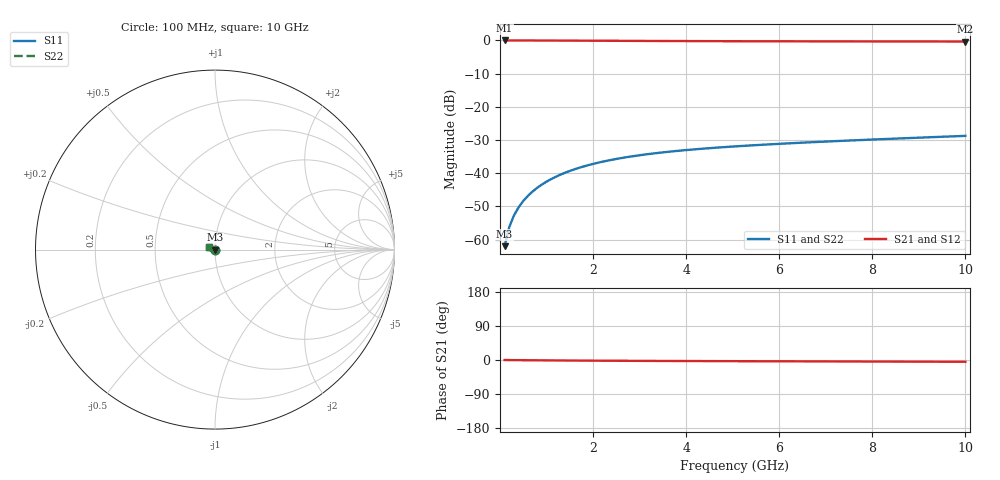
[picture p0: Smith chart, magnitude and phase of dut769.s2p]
! Touchstone file exported from HFSS 2024.1.0
!  File:  C:/UserFiles/LocalFiles/RDL_TSV_Batchsim/temp_TSV1_769_1779873296.aedt
!  Generated:  05:20:02 PM May 27, 2026
!  Design:  TSV1
!  Project:  temp_TSV1_769_1779873296
!  Setup:  Setup1
!  Solution:  Sweep
! Variables:
!  dtsv = 7.75um
!  hbump = 3um
!  htsv = 69.49um
!  lrdl = 252.1521522um
!  p = 40
!  p1 = 52.84um
!  t = 500um
!  trdl = 3um
!  wrdl = 24.89489489um
# GHz S MA R 50.000000
! Terminal data exported
! Port[1] = TSV22_T1
! Port[2] = TSV22_T2
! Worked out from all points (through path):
!   100 points, 100 MHz to 10 GHz, reference 50 ohm
!   highest |S21| = 0.00 dB at 100 MHz (marker M1); lowest = -0.3 dB at 10 GHz (marker M2)
!   lowest |S11| = -62.0 dB at 100 MHz (marker M3), VSWR 1.00, Z = 50 - j0.0775 ohm
!   |S11| at or under -10 dB: start of sweep to end of sweep
!   |S22| runs from -62.0 to -28.7 dB; largest |S21 - S12| = 4.2e-15
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0.1  0.0007984 -76.1  0.9997 -0.1  0.9997 -0.1  0.0007984 -76.1
! Gamma 0 0 0 0
! Port Impedance 50 0 50 0
0.2  0.001549 -86.1  0.9997 -0.2  0.9997 -0.2  0.001549 -86.1
0.3  0.002308 -91.0  0.9995 -0.3  0.9995 -0.3  0.002308 -91.0
0.4  0.003065 -94.4  0.9993 -0.4  0.9993 -0.4  0.003065 -94.4
0.5  0.003819 -97.4  0.999 -0.5  0.999 -0.5  0.003819 -97.4
0.6  0.004567 -100.0  0.9987 -0.6  0.9987 -0.6  0.004567 -100.0
0.7  0.005308 -102.5  0.9983 -0.7  0.9983 -0.7  0.005308 -102.5
0.8  0.00604 -104.8  0.9979 -0.8  0.9979 -0.8  0.00604 -104.8
0.9  0.006763 -107.1  0.9974 -0.9  0.9974 -0.9  0.006763 -107.1
1.1  0.008174 -111.4  0.9964 -1.1  0.9964 -1.1  0.008174 -111.4
1.4  0.01019 -117.5  0.9947 -1.3  0.9947 -1.3  0.01019 -117.5
1.6  0.01147 -121.4  0.9934 -1.5  0.9934 -1.5  0.01147 -121.4
1.8  0.01268 -125.1  0.9921 -1.6  0.9921 -1.6  0.01268 -125.1
2.1  0.01438 -130.4  0.99 -1.8  0.99 -1.8  0.01438 -130.4
2.5  0.01643 -137.1  0.9873 -2.1  0.9873 -2.1  0.01643 -137.1
2.9  0.01826 -143.2  0.9846 -2.3  0.9846 -2.3  0.01826 -143.2
3.4  0.02026 -150.3  0.9816 -2.5  0.9816 -2.5  0.02026 -150.3
4.2  0.02298 -160.2  0.9774 -2.8  0.9774 -2.8  0.02298 -160.2
5.1  0.02552 -169.9  0.9736 -3.1  0.9736 -3.1  0.02552 -169.9
6.7  0.02934 176.1  0.9689 -3.6  0.9689 -3.6  0.02934 176.1
8.4  0.03306 164.4  0.9656 -4.2  0.9656 -4.2  0.03306 164.4
10  0.03656 155.5  0.9634 -4.7  0.9634 -4.7  0.03656 155.5
